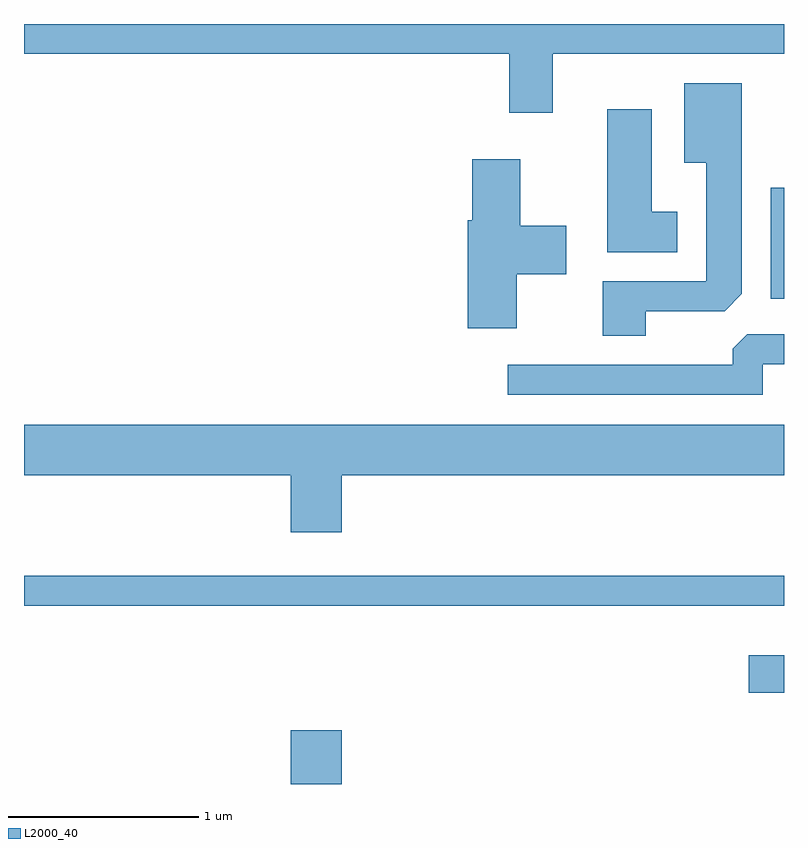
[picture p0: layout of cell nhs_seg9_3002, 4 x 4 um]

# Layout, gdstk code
import gdstk
lib = gdstk.Library(unit=1e-6, precision=1e-09)
def R(c, l, rs):  # rectangles x0, y0, x1, y1
    for r in rs: c.add(gdstk.rectangle(r[:2], r[2:], *l))
def P(c, l, *ps):  # polygons
    for p in ps: c.add(gdstk.Polygon(p, *l))
L2000_40 = (2000, 40)

nhs_seg9_3002 = lib.new_cell('nhs_seg9_3002')
R(nhs_seg9_3002, L2000_40, [(275.016,1972.432,275.284,1972.714), (277.426,1972.911,277.611,1973.109), (273.611,1973.371,277.611,1973.529), (277.541,1974.986,277.611,1975.569)])
P(nhs_seg9_3002, L2000_40, [(276.394,1976.276),(277.611,1976.276),(277.611,1976.432),(273.611,1976.432),(273.611,1976.276),(276.166,1976.276),(276.166,1975.966),(276.394,1975.966)],
  [(276.884,1974.921),(277.299,1974.921),(277.389,1975.012),(277.389,1976.119),(277.086,1976.119),(277.086,1975.701),(277.201,1975.701),(277.201,1975.079),(276.656,1975.079),(276.656,1974.791),(276.884,1974.791)],
  [(277.049,1975.444),(276.914,1975.444),(276.914,1975.984),(276.681,1975.984),(276.681,1975.231),(277.049,1975.231)],
  [(276.204,1975.116),(276.464,1975.116),(276.464,1975.369),(276.224,1975.369),(276.224,1975.719),(275.971,1975.719),(275.971,1975.399),(275.946,1975.399),(275.946,1974.831),(276.204,1974.831)],
  [(277.499,1974.641),(277.611,1974.641),(277.611,1974.799),(277.417,1974.799),(277.341,1974.724),(277.341,1974.639),(276.158,1974.639),(276.158,1974.481),(277.499,1974.481)],
  [(275.284,1974.056),(277.611,1974.056),(277.611,1974.324),(273.611,1974.324),(273.611,1974.056),(275.016,1974.056),(275.016,1973.756),(275.284,1973.756)])

lib.write_gds('nhs_seg9_3002.gds')
